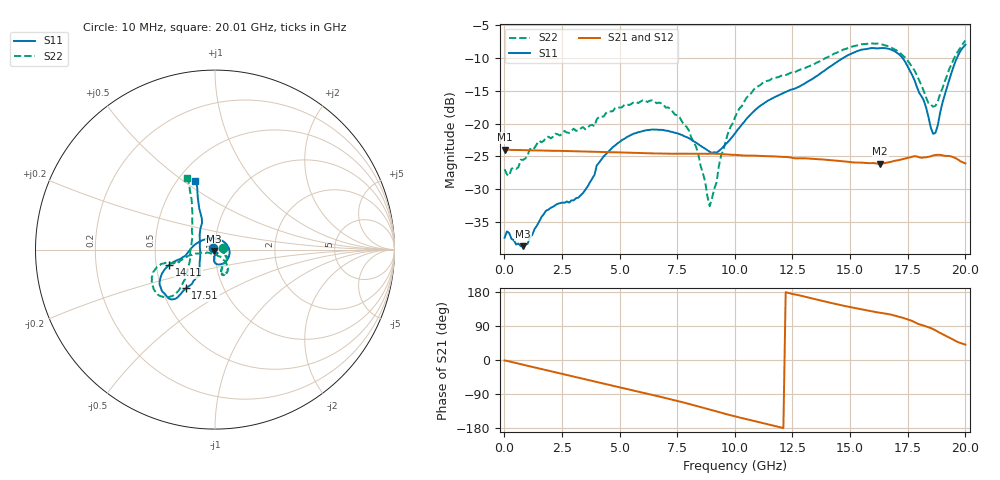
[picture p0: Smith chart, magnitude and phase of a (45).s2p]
! Hittite Microwave Corporation
! 2 Elizabeth Drive
! Chelmsford, MA 01824
! http://www.hittite.com
! Tel: 978-250-3343
! Fax: 978-250-3373
! Device:  HMC424LP3
! Description: 0.5 dB GaAs MMIC 6-Bit Digital Attenuator
! Frequency:  DC -  13.00 GHz
! Package:  LP3  - 3x3 mm Quad Flatpack No-Lead (QFN) Plastic Package: 16 pin
! Ports:  2 RF, 7 DC
!  Pad  1  = Ground
!  Pad  2  = RF IN  = Port 1
!  Pad  3  = Ground
!  Pad  4  = V6
!  Pad  5  = V5
!  Pad  6  = V4
!  Pad  7  = V3
!  Pad  8  = V2
!  Pad  9  = V1
!  Pad 10  = Ground
!  Pad 11  = RF OUT  = Port 2
!  Pad 12  = Ground
!  Pad 15  = VEE
! Control:  -5 Volt control voltage
! State:  43
! Attenuation:  21.5 dB
! Voltages:  Vdd = -5.00 Volts  Idd =  -2.519 mA
!  V1  = -5.00 Volts  I1  =  -1.0 uA
!  V2  = -5.00 Volts  I2  =  -1.0 uA
!  V3  = 0.00 Volts  I3  =  30.0 uA
!  V4  = -5.00 Volts  I4  =  -1.0 uA
!  V5  = 0.00 Volts  I5  =  29.0 uA
!  V6  = -5.00 Volts  I6  =  -1.0 uA
! Data:  The device was measured on evaluation board 105354-1.
!  Data was collected using a calibrated network analyzer.
!  The evaluation circuit board was modeled and simulated.  This was use
!  to removed the evaluation board circuit from the measured data.
!  The reference plane is the edge of the package pin.
! Misc:  Lot xxxx, Unit 1
!  Application 20120001, Data collected in Application 20090083
! Date Measured:  2009-09-15
! Date:  2012-05-14  MJV
! Note:
!  Hittite supplies this data as a sample of measured data at the package pin
!  for this product.  Your particular data for this product may vary.
!  Data was taken at 25 degrees C.
!  Hittite reserves the right to change this data at anytime.
# GHz S MA R 50
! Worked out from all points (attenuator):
!   201 points, 10 MHz to 20.01 GHz, reference 50 ohm
!   highest |S21| = -23.95 dB at 10 MHz (marker M1); lowest = -26.1 dB at 16.31 GHz (marker M2)
!   lowest |S11| = -38.7 dB at 810 MHz (marker M3), VSWR 1.02, Z = 49.4 - j0.971 ohm
!   |S11| at or under -10 dB: start of sweep to 14.72 GHz; 17.27 GHz to 19.65 GHz (2.372 GHz wide, 12.9 % of centre)
!   |S22| runs from -32.6 to -7.4 dB; largest |S21 - S12| = 0.00053
!   S11 on the Smith chart (normalised r, x): 10 MHz: 0.98, +0.01; 14.11 GHz: 0.59, -0.11; 17.51 GHz: 0.66, -0.31; 20.01 GHz: 0.61, +0.55
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0.01  0.01353 151.4  0.06343 -1.3  0.06359 -1.8  0.04494 8.8
0.21  0.01469 -172.2  0.06323 -3.6  0.06284 -3.6  0.04008 -7.6
0.81  0.01167 -122.6  0.06277 -12.4  0.06257 -12.4  0.05288 -19.9
1.81  0.02176 -55.9  0.06227 -26.8  0.06211 -26.8  0.07819 -32.3
3.41  0.02957 -82.9  0.06143 -49.6  0.06128 -49.6  0.09394 -54.1
4.71  0.06618 -94.0  0.06055 -68.0  0.06045 -68.0  0.1241 -74.3
6.71  0.08948 -47.8  0.05925 -96.1  0.05913 -96.2  0.1443 -63.5
8.01  0.07738 6.0  0.05888 -115.9  0.05889 -115.9  0.08828 -48.8
8.41  0.06977 26.7  0.05886 -122.2  0.05878 -122.2  0.05939 -49.5
8.91  0.06099 60.3  0.05889 -130.5  0.05883 -130.6  0.0235 -102.8
9.41  0.06408 101.1  0.05871 -139.3  0.0586 -139.2  0.05736 -159.2
10.01  0.08398 139.8  0.05781 -148.7  0.05771 -148.7  0.1113 -168.6
11.21  0.1401 -179.4  0.05657 -166.3  0.05648 -166.4  0.2037 -162.6
13.41  0.2208 -164.3  0.05376 161.7  0.05361 161.7  0.2799 -164.8
14.11  0.269 -161.5  0.05279 151.6  0.05262 151.6  0.3247 -164.0
16.31  0.3745 -136.0  0.04941 124.7  0.04937 124.6  0.4024 -140.4
16.71  0.3691 -131.2  0.05077 120.5  0.05066 120.5  0.384 -135.9
17.51  0.2701 -127.0  0.05475 107.1  0.05462 107.0  0.2986 -131.7
18.21  0.1487 -124.5  0.05521 90.7  0.05507 90.8  0.1753 -148.1
18.61  0.08336 -169.4  0.05706 81.4  0.05693 81.6  0.1342 173.9
19.51  0.2754 109.5  0.05519 52.7  0.05519 52.8  0.311 114.9
20.01  0.3976 106.4  0.04971 40.6  0.05004 40.5  0.4282 111.2
